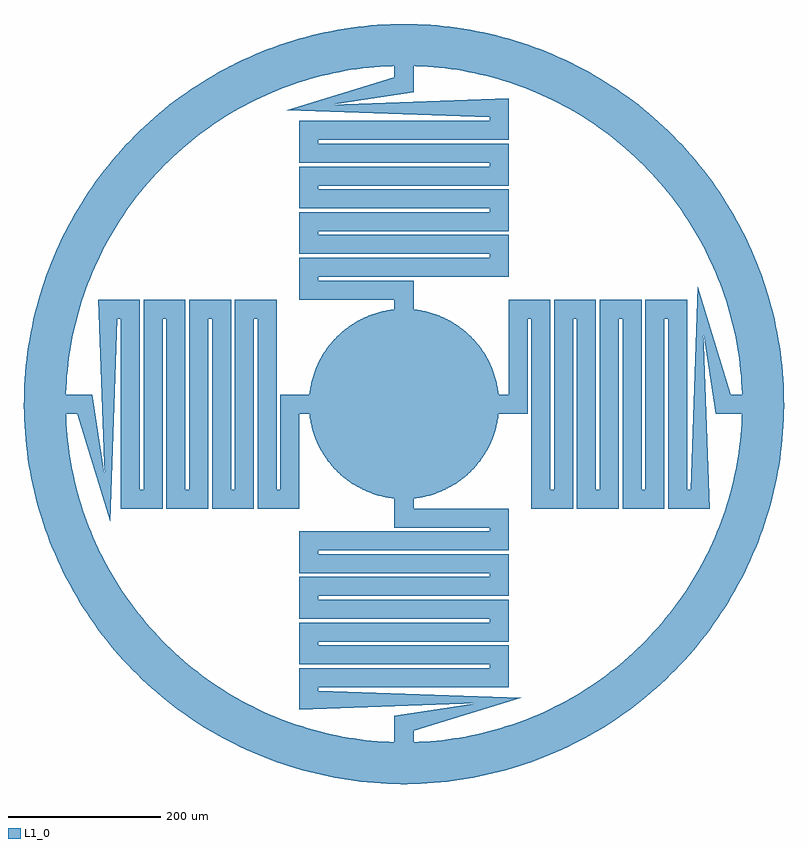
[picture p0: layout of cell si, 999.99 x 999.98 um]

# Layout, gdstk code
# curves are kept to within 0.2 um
import gdstk
lib = gdstk.Library(unit=1e-6, precision=1e-09)
def P(c, l, *ps):  # polygons
    for p in ps: c.add(gdstk.Polygon(p, *l))
L1_0 = (1, 0)

c_si = lib.new_cell('si')
P(c_si, L1_0, [(-1.094,-124.995),(-14.19,-124.192),(-24.989,-122.477),(-37.69,-119.183),(-47.962,-115.433),(-57.867,-110.799),(-69.162,-104.123),(-79.695,-96.3),(-89.35,-87.416),(-98.021,-77.569),(-104.425,-68.706),(-111.051,-57.381),(-116.454,-45.425),(-119.979,-35.073),(-122.994,-22.304),(-124.473,-11.469),(-124.989,1.641),(-124.368,12.558),(-122.366,25.525),(-119.017,38.211),(-115.222,48.466),(-109.507,60.277),(-103.82,69.617),(-95.951,80.115),(-87.024,89.732),(-77.14,98.359),(-68.248,104.724),(-56.895,111.301),(-46.95,115.848),(-36.645,119.508),(-23.917,122.691),(-10.925,124.522),(2.188,124.981),(15.276,124.063),(26.06,122.253),(36.645,119.508),(48.97,115.008),(60.755,109.242),(70.07,103.514),(80.535,95.599),(88.582,88.195),(97.338,78.424),(103.82,69.617),(109.507,60.277),(115.222,48.466),(119.667,36.122),(122.794,23.38),(124.368,12.558),(124.999,-0.547),(124.473,-11.469),(122.585,-24.453),(119.346,-37.168),(114.793,-49.473),(108.975,-61.233),(103.206,-70.523),(96.648,-79.273),(87.806,-88.967),(79.695,-96.3),(69.162,-104.123),(57.867,-110.799),(47.962,-115.433),(37.69,-119.183),(24.989,-122.477),(12.014,-124.421)],
  [(-4.375,-499.981),(-30.609,-499.062),(-56.759,-496.768),(-82.752,-493.105),(-99.958,-489.907),(-125.531,-483.985),(-150.759,-476.73),(-175.57,-468.161),(-199.898,-458.302),(-215.815,-451.025),(-239.188,-439.078),(-261.902,-425.92),(-283.894,-411.588),(-305.103,-396.121),(-325.472,-379.563),(-344.944,-361.959),(-357.4,-349.665),(-375.258,-330.426),(-392.082,-310.277),(-407.826,-289.272),(-417.699,-274.822),(-431.547,-252.522),(-440.12,-237.265),(-451.965,-213.839),(-462.565,-189.825),(-471.89,-165.287),(-479.914,-140.294),(-486.616,-114.914),(-491.976,-89.217),(-494.797,-71.945),(-497.891,-45.878),(-499.612,-19.685),(-499.957,6.563),(-498.923,32.793),(-496.515,58.932),(-492.738,84.908),(-487.603,110.651),(-481.124,136.089),(-473.318,161.151),(-464.209,185.77),(-453.819,209.876),(-442.179,233.404),(-429.321,256.289),(-415.278,278.467),(-400.092,299.878),(-383.802,320.462),(-366.455,340.163),(-348.098,358.926),(-328.781,376.7),(-315.396,387.976),(-301.625,398.776),(-280.281,414.056),(-258.165,428.195),(-243.021,436.968),(-227.973,445),(0,445),(-23.354,444.387),(-38.892,443.297),(-54.382,441.665),(-69.806,439.491),(-85.144,436.779),(-107.949,431.708),(-122.991,427.666),(-137.883,423.1),(-159.898,415.28),(-174.333,409.43),(-188.555,403.078),(-209.45,392.627),(-229.767,381.094),(-242.963,372.819),(-255.861,364.088),(-274.617,350.158),(-286.703,340.333),(-298.438,330.091),(-309.807,319.444),(-320.797,308.406),(-336.54,291.145),(-346.523,279.189),(-356.082,266.891),(-369.598,247.836),(-378.045,234.749),(-386.029,221.375),(-397.115,200.81),(-403.899,186.79),(-410.189,172.54),(-418.679,150.775),(-426.015,128.594),(-430.254,113.606),(-433.966,98.479),(-438.537,75.568),(-440.913,60.175),(-442.749,44.707),(-444.485,21.41),(-444.962,5.841),(-444.894,-9.735),(-443.77,-33.07),(-442.34,-48.58),(-440.369,-64.031),(-437.859,-79.403),(-434.812,-94.678),(-429.243,-117.367),(-422.492,-139.733),(-417.343,-154.433),(-411.683,-168.944),(-405.518,-183.248),(-398.857,-197.328),(-387.951,-217.988),(-375.976,-238.048),(-367.415,-251.06),(-358.404,-263.765),(-344.067,-282.211),(-333.98,-294.079),(-323.483,-305.587),(-312.591,-316.721),(-301.315,-327.467),(-283.714,-342.829),(-271.542,-352.548),(-259.038,-361.835),(-239.691,-374.931),(-219.684,-386.994),(-206.006,-394.445),(-192.075,-401.413),(-170.744,-410.94),(-156.258,-416.664),(-141.58,-421.877),(-119.244,-428.726),(-104.167,-432.636),(-88.963,-436.017),(-73.649,-438.863),(-58.245,-441.172),(-35.011,-443.621),(-11.681,-444.847),(3.894,-444.983),(19.465,-444.574),(35.011,-443.621),(50.515,-442.124),(73.649,-438.863),(96.58,-434.393),(111.723,-430.747),(126.729,-426.573),(141.58,-421.877),(156.258,-416.664),(177.909,-407.889),(199.071,-397.99),(212.877,-390.779),(226.423,-383.09),(239.691,-374.931),(252.666,-366.313),(271.542,-352.548),(283.714,-342.829),(295.538,-332.69),(312.591,-316.721),(323.483,-305.587),(333.98,-294.079),(344.067,-282.211),(358.404,-263.765),(367.415,-251.06),(375.976,-238.048),(384.077,-224.745),(391.707,-211.165),(398.857,-197.328),(405.518,-183.248),(411.683,-168.944),(417.343,-154.433),(422.492,-139.733),(427.124,-124.861),(431.232,-109.837),(434.812,-94.678),(437.859,-79.403),(440.369,-64.031),(442.34,-48.58),(443.77,-33.07),(444.655,-17.519),(444.996,-1.947),(444.791,13.627),(444.042,29.185),(442.749,44.707),(440.913,60.175),(438.537,75.568),(433.966,98.479),(430.254,113.606),(426.015,128.594),(421.253,143.425),(415.976,158.079),(407.106,179.692),(397.115,200.81),(386.029,221.375),(378.045,234.749),(369.598,247.836),(356.082,266.891),(341.584,285.211),(326.145,302.745),(309.807,319.444),(292.615,335.263),(274.617,350.158),(255.861,364.088),(236.401,377.014),(216.289,388.901),(195.581,399.716),(181.472,406.316),(159.898,415.28),(145.266,420.622),(130.457,425.448),(115.488,429.753),(92.775,435.222),(77.486,438.202),(54.382,441.665),(38.892,443.297),(23.354,444.387),(0,445),(-227.973,445),(-203.901,456.535),(-179.66,466.607),(-154.925,475.393),(-138.193,480.523),(-121.291,485.065),(-95.667,490.763),(-78.433,493.81),(-61.104,496.252),(-43.699,498.087),(-26.241,499.311),(0,500),(17.498,499.694),(43.699,498.087),(69.779,495.107),(95.667,490.763),(121.291,485.065),(146.581,478.031),(171.467,469.68),(195.88,460.034),(211.86,452.897),(235.337,441.154),(258.165,428.195),(280.281,414.056),(294.6,403.994),(315.396,387.976),(335.323,370.888),(354.326,352.779),(372.352,333.697),(389.352,313.696),(405.279,292.83),(415.278,278.467),(429.321,256.289),(442.179,233.404),(453.819,209.876),(464.209,185.77),(473.318,161.151),(481.124,136.089),(487.603,110.651),(491.176,93.519),(495.408,67.612),(498.273,41.519),(499.421,24.056),(499.995,-2.188),(499.191,-28.425),(497.012,-54.584),(494.797,-71.945),(490.339,-97.813),(486.616,-114.914),(479.914,-140.294),(471.89,-165.287),(462.565,-189.825),(451.965,-213.839),(440.12,-237.265),(427.061,-260.036),(412.826,-282.09),(402.701,-296.365),(386.592,-317.091),(369.418,-336.943),(351.225,-355.866),(332.065,-373.809),(311.989,-390.721),(291.054,-406.556),(269.316,-421.271),(254.408,-430.438),(231.467,-443.196),(207.888,-454.733),(183.737,-465.017),(159.079,-474.019),(142.392,-479.296),(117.042,-486.108),(91.369,-491.581),(65.444,-495.699),(39.339,-498.45),(13.125,-499.828)])
c_si.add(gdstk.FlexPath([(0,0),(0,150),(-125,150),(-125,180),(125,180),(125,210),(-125,210),(-125,240),(125,240),(125,270),(-125,270),(-125,300),(125,300),(125,330),(-125,330),(-125,360),(125,360),(125,390),(-125,390),(-125,390),(0,420),(0,445)], 25, ends="flush", simple_path=True, layer=1, datatype=0))  # L1_0
c_si.add(gdstk.FlexPath([(0,0),(-150,0),(-150,-125),(-180,-125),(-180,125),(-210,125),(-210,-125),(-240,-125),(-240,125),(-270,125),(-270,-125),(-300,-125),(-300,125),(-330,125),(-330,-125),(-360,-125),(-360,125),(-390,125),(-390,-125),(-390,-125),(-420,0),(-445,0)], 25, ends="flush", simple_path=True, layer=1, datatype=0))  # L1_0
c_si.add(gdstk.FlexPath([(0,0),(0,-150),(125,-150),(125,-180),(-125,-180),(-125,-210),(125,-210),(125,-240),(-125,-240),(-125,-270),(125,-270),(125,-300),(-125,-300),(-125,-330),(125,-330),(125,-360),(-125,-360),(-125,-390),(125,-390),(125,-390),(0,-420),(0,-445)], 25, ends="flush", simple_path=True, layer=1, datatype=0))  # L1_0
c_si.add(gdstk.FlexPath([(0,0),(150,0),(150,125),(180,125),(180,-125),(210,-125),(210,125),(240,125),(240,-125),(270,-125),(270,125),(300,125),(300,-125),(330,-125),(330,125),(360,125),(360,-125),(390,-125),(390,125),(390,125),(420,0),(445,0)], 25, ends="flush", simple_path=True, layer=1, datatype=0))  # L1_0

lib.write_gds('si.gds')
